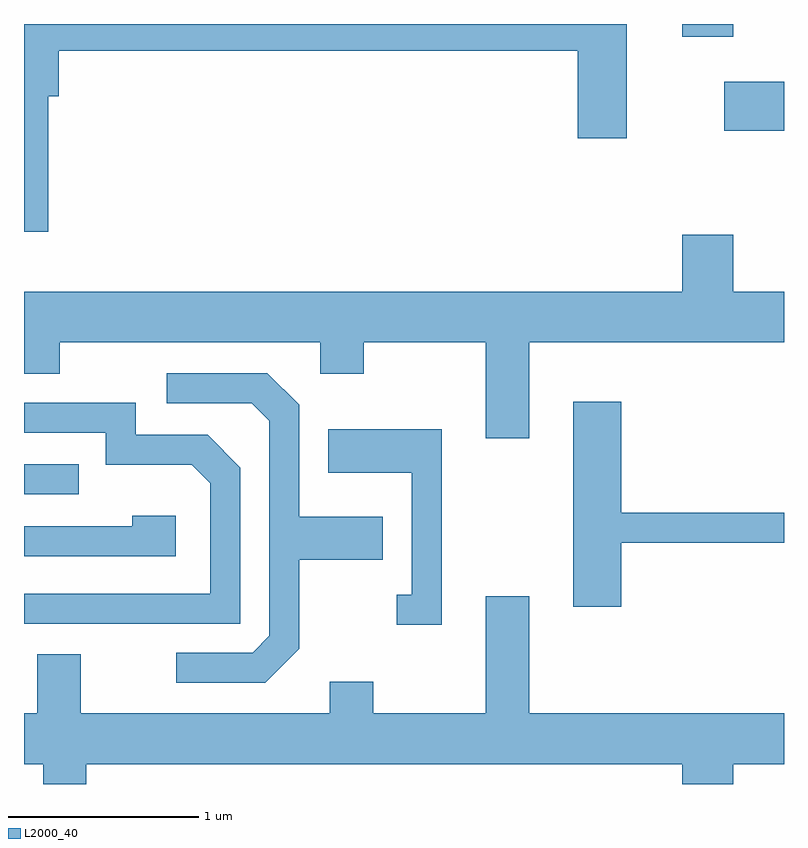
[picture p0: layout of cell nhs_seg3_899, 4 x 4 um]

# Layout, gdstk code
import gdstk
lib = gdstk.Library(unit=1e-6, precision=1e-09)
def R(c, l, rs):  # rectangles x0, y0, x1, y1
    for r in rs: c.add(gdstk.rectangle(r[:2], r[2:], *l))
def P(c, l, *ps):  # polygons
    for p in ps: c.add(gdstk.Polygon(p, *l))
L2000_40 = (2000, 40)

nhs_seg3_899 = lib.new_cell('nhs_seg3_899')
R(nhs_seg3_899, L2000_40, [(211.611,1147.416,211.898,1147.574), (215.296,1149.331,215.611,1149.589), (215.076,1149.826,215.344,1149.892)])
P(nhs_seg3_899, L2000_40, [(211.739,1149.511),(211.794,1149.511),(211.794,1149.751),(214.526,1149.751),(214.526,1149.291),(214.784,1149.291),(214.784,1149.892),(211.611,1149.892),(211.611,1148.798),(211.739,1148.798)],
  [(214.269,1148.216),(215.611,1148.216),(215.611,1148.484),(215.344,1148.484),(215.344,1148.784),(215.076,1148.784),(215.076,1148.484),(211.611,1148.484),(211.611,1148.051),(211.799,1148.051),(211.799,1148.216),(213.171,1148.216),(213.171,1148.051),(213.399,1148.051),(213.399,1148.216),(214.041,1148.216),(214.041,1147.711),(214.269,1147.711)],
  [(213.059,1146.604),(213.059,1147.071),(213.499,1147.071),(213.499,1147.299),(213.059,1147.299),(213.059,1147.887),(212.892,1148.054),(212.363,1148.054),(212.363,1147.896),(212.809,1147.896),(212.901,1147.804),(212.901,1146.672),(212.814,1146.584),(212.413,1146.584),(212.413,1146.426),(212.882,1146.426)],
  [(214.754,1147.161),(215.611,1147.161),(215.611,1147.319),(214.754,1147.319),(214.754,1147.904),(214.501,1147.904),(214.501,1146.826),(214.754,1146.826)],
  [(212.749,1147.557),(212.577,1147.729),(212.199,1147.729),(212.199,1147.899),(211.611,1147.899),(211.611,1147.741),(212.041,1147.741),(212.041,1147.571),(212.494,1147.571),(212.591,1147.474),(212.591,1146.894),(211.611,1146.894),(211.611,1146.736),(212.749,1146.736)],
  [(213.809,1147.759),(213.211,1147.759),(213.211,1147.531),(213.651,1147.531),(213.651,1146.889),(213.573,1146.889),(213.573,1146.731),(213.809,1146.731)],
  [(212.409,1147.304),(212.181,1147.304),(212.181,1147.249),(211.611,1147.249),(211.611,1147.091),(212.409,1147.091)],
  [(211.939,1145.996),(215.076,1145.996),(215.076,1145.892),(215.344,1145.892),(215.344,1145.996),(215.611,1145.996),(215.611,1146.264),(214.269,1146.264),(214.269,1146.879),(214.041,1146.879),(214.041,1146.264),(213.449,1146.264),(213.449,1146.429),(213.221,1146.429),(213.221,1146.264),(211.909,1146.264),(211.909,1146.574),(211.681,1146.574),(211.681,1146.264),(211.611,1146.264),(211.611,1145.996),(211.711,1145.996),(211.711,1145.892),(211.939,1145.892)])

lib.write_gds('nhs_seg3_899.gds')
